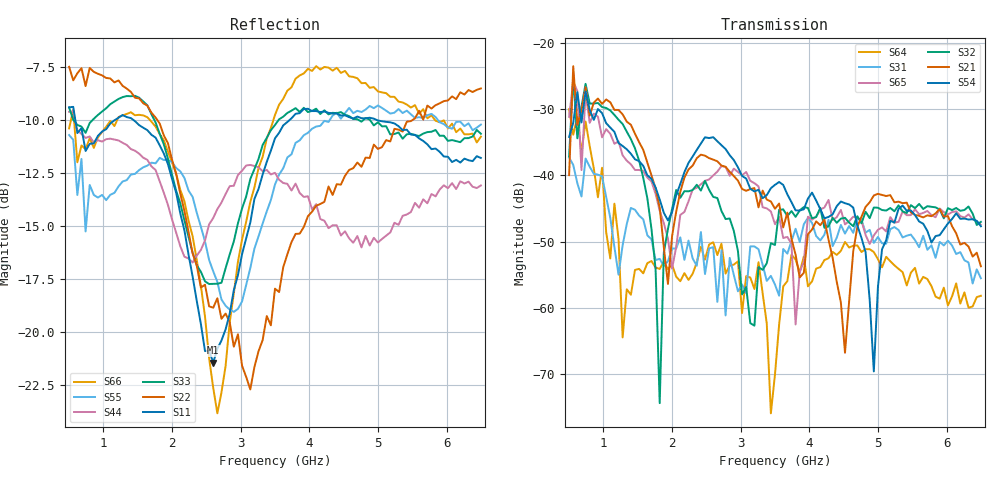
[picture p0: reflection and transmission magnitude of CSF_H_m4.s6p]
!Keysight Technologies,M9804A,MY58100912,A.14.10.03
!Date: Thursday, April 27, 2023 10:28:33
!Correction: S11(C  6-Port  )
!S12(C  6-Port  )
!S13(C  6-Port  )
!S14(C  6-Port  )
!S15(C  6-Port  )
!S16(C  6-Port  )
!S21(C  6-Port  )
!S22(C  6-Port  )
!S23(C  6-Port  )
!S24(C  6-Port  )
!S25(C  6-Port  )
!S26(C  6-Port  )
!S31(C  6-Port  )
!S32(C  6-Port  )
!S33(C  6-Port  )
!S34(C  6-Port  )
!S35(C  6-Port  )
!S36(C  6-Port  )
!S41(C  6-Port  )
!S42(C  6-Port  )
!S43(C  6-Port  )
!S44(C  6-Port  )
!S45(C  6-Port  )
!S46(C  6-Port  )
!S51(C  6-Port  )
!S52(C  6-Port  )
!S53(C  6-Port  )
!S54(C  6-Port  )
!S55(C  6-Port  )
!S56(C  6-Port  )
!S61(C  6-Port  )
!S62(C  6-Port  )
!S63(C  6-Port  )
!S64(C  6-Port  )
!S65(C  6-Port  )
!S66(C  6-Port  )
!S6P File: Measurement: :
# Hz S  RI  R 50
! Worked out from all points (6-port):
!   101 points, 500 MHz to 6.5 GHz, reference 50 ohm
!   strongest paths, dB at 500 MHz, 2 GHz, 3.5 GHz, 5 GHz, 6.5 GHz:
!     S54: -34.2, -45.6, -41.4, -56.8, -47.7
!     S21: -39.9, -49.2, -45.0, -42.8, -53.7
!     S32: -37.1, -45.1, -50.5, -44.9, -47.0
!     S65: -31.1, -54.1, -47.4, -48.2, -47.5
!     S31: -37.3, -51.1, -56.5, -49.3, -55.6
!     S64: -30.0, -53.5, -70.1, -52.7, -58.2
!   lowest |S11| = -21.4 dB at 2.6 GHz (marker M1), VSWR 1.19, Z = 42.5 + j2.19 ohm
!   |S11| at or under -10 dB: 589.8 MHz to 1.17 GHz (580.5 MHz wide, 66 % of centre); 1.435 GHz to 3.715 GHz (2.28 GHz wide, 88.5 % of centre); 4.98 GHz to end of sweep
